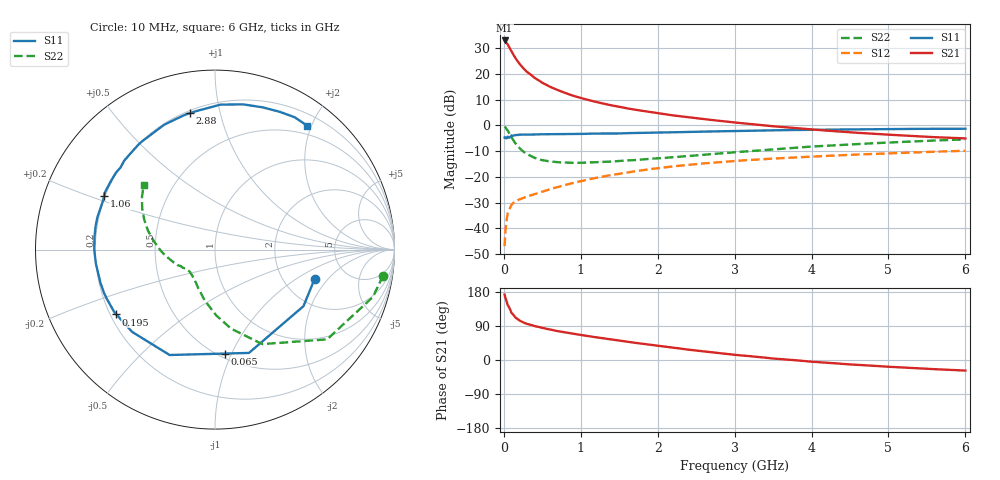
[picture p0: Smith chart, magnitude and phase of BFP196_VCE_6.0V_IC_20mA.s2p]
! Infineon Technologies  Discrete & RF Semiconductors
! BFP196
! VCE = 6.0 V,  IC =  20mA
! Common Emitter S-Parameters:  Jan 2016
# GHz  S  MA  R  50
!  f  S11  S21  S12  S22
! GHz  MAG  ANG  MAG  ANG  MAG  ANG  MAG  ANG
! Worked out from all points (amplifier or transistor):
!   210 points, 10 MHz to 6 GHz, reference 50 ohm
!   highest |S21| = 33.0 dB at 10 MHz (marker M1)
!   |S21| within 3 dB of that: start of sweep to 76.05 MHz
!   unconditionally stable (mu >= 1): 716.5 MHz to 3.463 GHz; 3.638 GHz to 3.817 GHz
!   at 185 MHz: K = 0.46, MSG = 26.9 dB, |S12| = -29.0 dB
!   at 1.52 GHz: K = 1.11, MAG = 10.9 dB, |S12| = -18.7 dB
!   at 6 GHz: K = 0.96, MSG = 2.4 dB, |S12| = -9.8 dB
!   S11 on the Smith chart (normalised r, x): 10 MHz: 2.95, -1.46; 65 MHz: 0.54, -0.95; 195 MHz: 0.22, -0.29; 1.06 GHz: 0.19, +0.22; 2.88 GHz: 0.21, +0.81; 6 GHz: 0.36, +1.94
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0.01  0.5785 -16.5  44.77 172.6  0.0045 82.4  0.9479 -8.8
0.02  0.5851 -32.6  43.33 164.1  0.0088 78.4  0.9184 -16.7
0.05  0.606 -71.8  37.59 145.1  0.0195 61.7  0.8001 -38.7
0.065  0.5819 -84.4  34.09 140.2  0.0222 56.2  0.7243 -44.5
0.1  0.6394 -113.3  27.28 124.2  0.0289 47.4  0.5888 -63.4
0.15  0.6507 -135.2  20.31 112.0  0.0337 42.5  0.45 -78.4
0.195  0.658 -146.7  16.41 105.5  0.036 40.7  0.3751 -87.6
0.24  0.6622 -155.5  13.6 100.5  0.0382 40.9  0.3228 -95.1
0.3  0.6644 -163.7  11.01 95.3  0.0413 42.0  0.2783 -103.3
0.4  0.6683 -173.2  8.389 89.5  0.0462 44.6  0.2344 -113.4
0.5  0.6729 -180.0  6.729 84.7  0.0514 47.0  0.2109 -120.7
0.6  0.6753 174.1  5.635 80.3  0.0573 48.9  0.1993 -126.4
0.7  0.6779 168.9  4.857 76.1  0.0636 50.4  0.1927 -131.0
1.02  0.683 155.4  3.349 65.5  0.0837 52.0  0.1882 -140.6
1.06  0.687 154.1  3.229 64.3  0.0864 52.1  0.1893 -141.5
1.4  0.6988 141.8  2.448 54.2  0.1086 51.1  0.1984 -148.2
2.02  0.728 123.1  1.708 37.2  0.1484 45.7  0.23 -159.8
2.88  0.7727 100.5  1.193 16.4  0.1978 35.7  0.2908 -176.2
3.1  0.7822 95.8  1.103 11.9  0.2085 32.9  0.3084 179.5
4.1  0.8255 77.5  0.812 -5.8  0.2515 21.3  0.3956 162.7
5.1  0.8501 63.6  0.648 -18.8  0.2901 10.4  0.4722 149.3
6  0.8607 53.3  0.559 -27.9  0.322 0.4  0.5353 138.0
